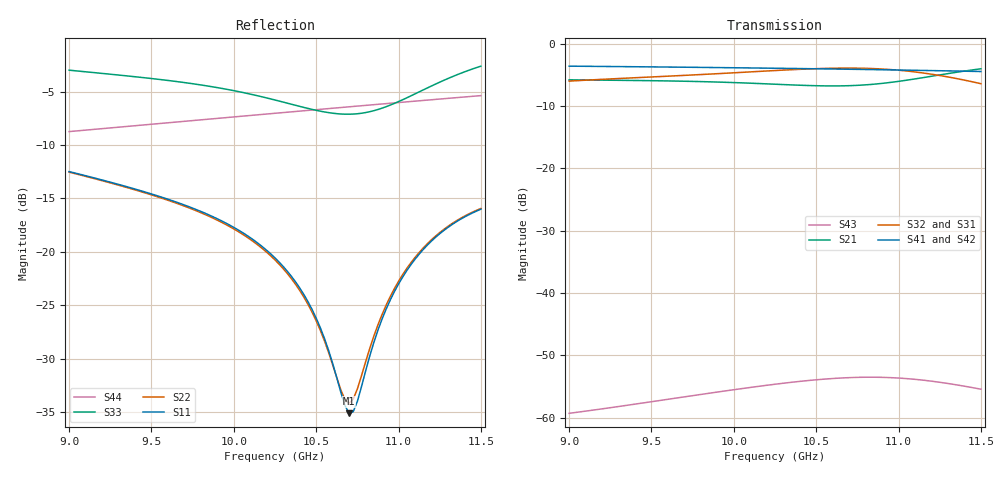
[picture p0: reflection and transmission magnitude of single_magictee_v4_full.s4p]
! Generated from PyAEDT SolutionData; AEDT ExportNetworkData workaround
# GHz S MA R 50
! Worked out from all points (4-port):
!   101 points, 9 GHz to 11.5 GHz, reference 50 ohm
!   strongest paths, dB at 9 GHz, 9.625 GHz, 10.25 GHz, 10.88 GHz, 11.5 GHz:
!     S41: -3.6, -3.8, -4.0, -4.2, -4.5
!     S42: -3.6, -3.8, -4.0, -4.2, -4.5
!     S32: -6.0, -5.2, -4.3, -4.1, -6.4
!     S31: -6.0, -5.2, -4.3, -4.1, -6.5
!     S21: -5.8, -6.0, -6.5, -6.5, -4.1
!     S43: -59.3, -57.0, -54.7, -53.5, -55.5
!   lowest |S11| = -35.1 dB at 10.7 GHz (marker M1), VSWR 1.04, Z = 48.4 - j0.75 ohm
!   |S11| at or under -10 dB: start of sweep to end of sweep
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9  0.2375 140.9  0.5115 -178.4  0.4987 -91.1  0.6582 46.0
   0.5115 -178.4  0.236 141.2  0.4995 -91.0  0.6582 -133.9
   0.4987 -91.1  0.4995 -91.0  0.7084 -171.1  0.001081 -29.0
   0.6582 46.0  0.6582 -133.9  0.001081 -29.0  0.3655 -114.4
9.375  0.1993 96.4  0.5057 140.3  0.5288 -157.3  0.6518 3.1
       0.5057 140.3  0.1975 96.6  0.5297 -157.2  0.6517 -176.7
       0.5288 -157.3  0.5297 -157.2  0.6632 97.0  0.001266 -94.5
       0.6518 3.1  0.6517 -176.7  0.001266 -94.5  0.3878 -154.7
9.725  0.1629 54.2  0.4975 103.2  0.5566 141.8  0.6451 -35.6
       0.4975 103.2  0.1609 54.2  0.5574 141.9  0.6449 144.6
       0.5566 141.8  0.5574 141.9  0.616 11.9  0.001481 -156.8
       0.6451 -35.6  0.6449 144.6  0.001481 -156.8  0.4099 168.5
10.15  0.1092 -1.8  0.4777 60.4  0.5963 67.6  0.6358 -81.4
       0.4777 60.4  0.1071 -2.3  0.5972 67.7  0.6354 98.8
       0.5963 67.6  0.5972 67.7  0.5364 -94.7  0.001778 125.4
       0.6358 -81.4  0.6354 98.8  0.001778 125.4  0.4382 124.5
10.7  0.01754 -153.8  0.4591 13.3  0.6342 -33.1  0.6219 -139.1
      0.4591 13.3  0.01957 -160.1  0.6352 -33.0  0.6208 41.1
      0.6342 -33.1  0.6352 -33.0  0.4408 101.0  0.002088 19.4
      0.6219 -139.1  0.6208 41.1  0.002088 19.4  0.4773 68.3
11.075  0.087 62.9  0.5141 -15.8  0.596 -105.3  0.6107 -177.8
        0.5141 -15.8  0.08886 64.5  0.5969 -105.2  0.6095 2.5
        0.596 -105.3  0.5969 -105.2  0.5371 -23.9  0.002038 -54.7
        0.6107 -177.8  0.6095 2.5  0.002038 -54.7  0.5055 30.3
11.5  0.1583 -7.1  0.6272 -56.5  0.4754 174.8  0.5963 138.8
      0.6272 -56.5  0.1596 -6.2  0.4763 174.8  0.5953 -41.0
      0.4754 174.8  0.4763 174.8  0.7397 -143.3  0.001687 -132.7
      0.5963 138.8  0.5953 -41.0  0.001687 -132.7  0.5386 -12.7
